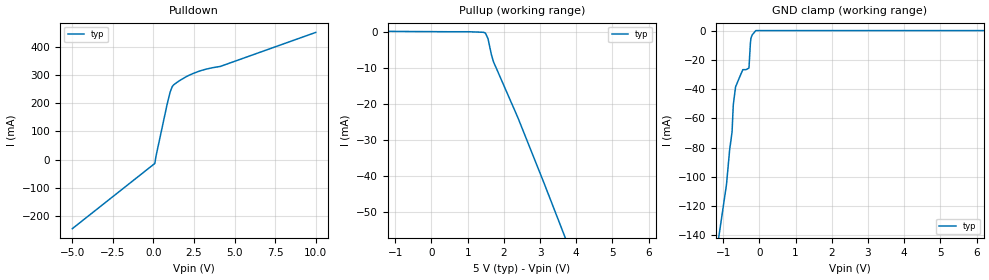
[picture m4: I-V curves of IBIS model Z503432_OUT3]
| COPYRIGHT(C) MENTOR GRAPHICS CORPORATION 2001 ALL
| RIGHTS RESERVED. THIS WORK CONTAINS PROPRIETARY
| INFORMATION WHICH IS THE PROPERTY OF MENTOR GRAPHICS
| CORPORATION OR ITS LICENSORS. USE OF THESE MATERIALS
| IS SUBJECT TO THE TERMS BELOW.
| USE: MENTOR GRAPHICS HAS LICENSED IBIS MODELS TO
| From MC100ELT28DT.IBS, MC100ELT21DT, On Semiconductor
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| (C) COPYRIGHT 1993-2000
| MENTOR GRAPHICS CORPORATION
| ICX STANDARD LIBRARY, ICX PROJECT MODELING,
| ICX CUSTOM MODELING, ICX VENDOR MODEL
| ALL RIGHTS RESERVED.
| THE FOLLOWING ARE TRADEMARKS OR SERVICE MARKS OF
| MENTOR GRAPHICS CORPORATION:ICX (R), ICX STANDARD
| LIBRARY(R), ICX PROJECT MODELING(R), ICX CUSTOM
| MODELING(R), qualityIBIS(TM), MODELVIEWER(TM),
| AND MODELEDITOR(TM)
| ALL COPIES OF SOFTWARE, INCLUDING BUT NOT LIMITED TO
| ANY MODIFICATIONS, ENHANCEMENTS OR DERIVATIVE WORKS,
| MUST CONTAIN ALL MENTOR GRAPHICS CORPORATION'S
| NOTICES AND LEGENDS, INCLUDING THOSE EMBEDDED IN
| SOFTWARE AND THOSE AFFIXED TO SOFTWARE MEDIUM
| AND CONTAINER, AS RECEIVED FROM MENTOR GRAPHICS
| CORPORATION.
| Model Application Version 1.89 2/18/99.
[Model] Z503432_OUT3
Model_type Output
Vref=0.000V
Rref=500.0ohms
Cref=20.00pF
Vmeas=1.500V
C_comp 2.000pF NA NA
| variable typ   min   max
[Voltage Range] 5.000V NA NA
[POWER Clamp Reference] 5.000V NA NA
[Pullup Reference] 5.000V NA NA
[Pulldown Reference] 0.000V NA NA
[GND Clamp Reference] 0.000V NA NA
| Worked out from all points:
|   slope of the pulldown table from 0 to 0.75 V, typ, clamps not added: 3.97 ohm
|   slope of the pullup table from 0 to 0.75 V, typ, clamps not added: 25.7 kohm
|   GND clamp passes 1 mA (typ) near -0.13 V on its own axis
[GND Clamp]
-5V       -795.2mA   NA         NA
-909mV    -105.1mA   NA         NA
-822.9mV  -81.6mA    NA         NA
-755.7mV  -69.26mA   NA         NA
-721.9mV  -50.8mA    NA         NA
-659.1mV  -38.51mA   NA         NA
-457.5mV  -26.71mA   NA         NA
-288.5mV  -25.61mA   NA         NA
-249.1mV  -8.733mA   NA         NA
-234.3mV  -5.216mA   NA         NA
-99.3mV   0A         NA         NA
10V       0A         NA         NA
[Pulldown]
-5V       -245.1mA   NA         NA
82.13mV   -13.93mA   NA         NA
156.3mV   11.9mA     NA         NA
835.3mV   194.1mA    NA         NA
1.025V    238.7mA    NA         NA
1.147V    257.6mA    NA         NA
1.274V    266.2mA    NA         NA
2.024V    293.9mA    NA         NA
2.744V    311.8mA    NA         NA
4.117V    330.1mA    NA         NA
10V       450.8mA    NA         NA
[Pullup]
-5V       549.5uA    NA         NA
465.5mV   206.9uA    NA         NA
1.043V    206.9uA    NA         NA
1.441V    48.73uA    NA         NA
1.48V     -131.4uA   NA         NA
1.499V    -331.6uA   NA         NA
1.562V    -1.726mA   NA         NA
1.655V    -6.14mA    NA         NA
1.712V    -8.125mA   NA         NA
2.395V    -23.89mA   NA         NA
3.129V    -42.43mA   NA         NA
10V       -220.8mA   NA         NA
[POWER Clamp]
-5V       0A         NA         NA
10V       0A         NA         NA
[Ramp]
| variable typ min max
dV/dt_r 1.925/2.304n NA NA
dV/dt_f 1.925/1.045n NA NA
R_load = 500.0Ohms
